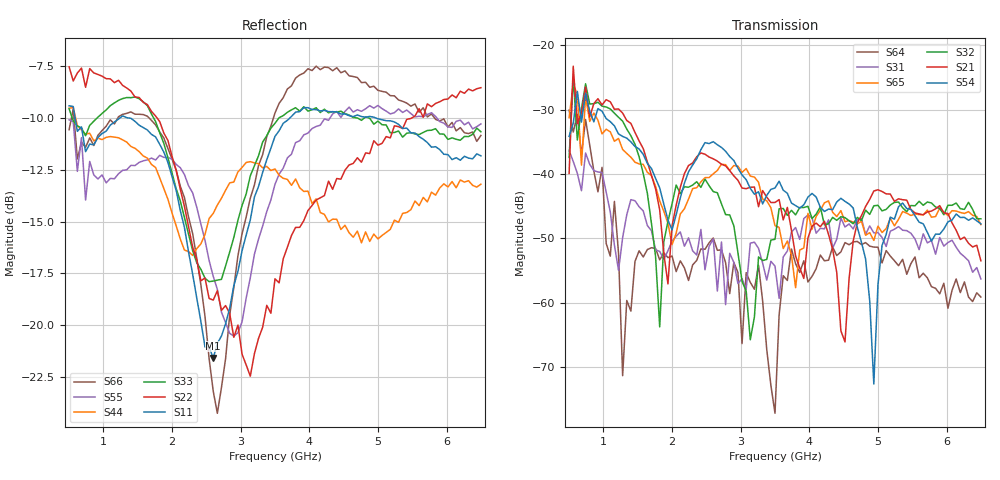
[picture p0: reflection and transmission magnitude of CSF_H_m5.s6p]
!Keysight Technologies,M9804A,MY58100912,A.14.10.03
!Date: Thursday, April 27, 2023 10:28:33
!Correction: S11(C  6-Port  )
!S12(C  6-Port  )
!S13(C  6-Port  )
!S14(C  6-Port  )
!S15(C  6-Port  )
!S16(C  6-Port  )
!S21(C  6-Port  )
!S22(C  6-Port  )
!S23(C  6-Port  )
!S24(C  6-Port  )
!S25(C  6-Port  )
!S26(C  6-Port  )
!S31(C  6-Port  )
!S32(C  6-Port  )
!S33(C  6-Port  )
!S34(C  6-Port  )
!S35(C  6-Port  )
!S36(C  6-Port  )
!S41(C  6-Port  )
!S42(C  6-Port  )
!S43(C  6-Port  )
!S44(C  6-Port  )
!S45(C  6-Port  )
!S46(C  6-Port  )
!S51(C  6-Port  )
!S52(C  6-Port  )
!S53(C  6-Port  )
!S54(C  6-Port  )
!S55(C  6-Port  )
!S56(C  6-Port  )
!S61(C  6-Port  )
!S62(C  6-Port  )
!S63(C  6-Port  )
!S64(C  6-Port  )
!S65(C  6-Port  )
!S66(C  6-Port  )
!S6P File: Measurement: :
# Hz S  RI  R 50
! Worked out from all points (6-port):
!   101 points, 500 MHz to 6.5 GHz, reference 50 ohm
!   strongest paths, dB at 500 MHz, 2 GHz, 3.5 GHz, 5 GHz, 6.5 GHz:
!     S54: -34.1, -48.7, -42.2, -57.2, -47.8
!     S21: -39.9, -48.0, -44.4, -42.4, -53.5
!     S32: -37.4, -44.6, -50.1, -44.9, -47.0
!     S65: -31.2, -51.0, -48.0, -48.1, -47.9
!     S31: -36.3, -50.5, -54.3, -49.1, -56.3
!     S64: -30.1, -52.8, -77.2, -51.4, -59.1
!   lowest |S11| = -21.6 dB at 2.6 GHz (marker M1), VSWR 1.18, Z = 42.6 + j2.06 ohm
!   |S11| at or under -10 dB: 588.2 MHz to 1.236 GHz (647.5 MHz wide, 71 % of centre); 1.389 GHz to 3.713 GHz (2.324 GHz wide, 91.1 % of centre); 4.976 GHz to end of sweep
